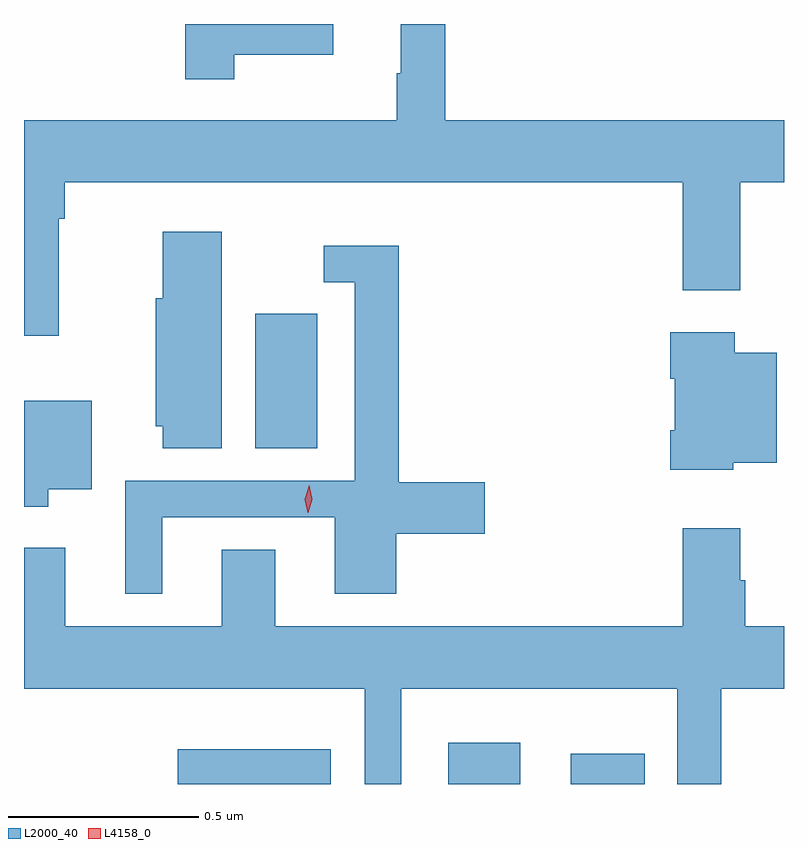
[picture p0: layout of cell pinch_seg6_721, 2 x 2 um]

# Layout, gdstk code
import gdstk
lib = gdstk.Library(unit=1e-6, precision=1e-09)
def R(c, l, rs):  # rectangles x0, y0, x1, y1
    for r in rs: c.add(gdstk.rectangle(r[:2], r[2:], *l))
def P(c, l, *ps):  # polygons
    for p in ps: c.add(gdstk.Polygon(p, *l))
L2000_40 = (2000, 40)
L4158_0 = (4158, 0)

pinch_seg6_721 = lib.new_cell('pinch_seg6_721')
R(pinch_seg6_721, L2000_40, [(395.583,947.085,395.985,947.176), (396.294,947.085,396.484,947.194), (396.617,947.085,396.812,947.164), (395.786,947.968,395.95,948.322)])
P(pinch_seg6_721, L2000_40, [(395.27,948.572),(395.285,948.572),(395.285,948.668),(396.911,948.668),(396.911,948.384),(397.063,948.384),(397.063,948.668),(397.178,948.668),(397.178,948.832),(396.287,948.832),(396.287,949.085),(396.17,949.085),(396.17,948.956),(396.159,948.956),(396.159,948.832),(395.178,948.832),(395.178,948.264),(395.27,948.264)],
  [(395.731,949.004),(395.992,949.004),(395.992,949.085),(395.602,949.085),(395.602,948.939),(395.731,948.939)],
  [(395.698,948.538),(395.543,948.538),(395.543,948.363),(395.525,948.363),(395.525,948.027),(395.543,948.027),(395.543,947.968),(395.698,947.968)],
  [(395.542,947.787),(395.996,947.787),(395.996,947.586),(396.158,947.586),(396.158,947.744),(396.391,947.744),(396.391,947.879),(396.164,947.879),(396.164,948.502),(395.967,948.502),(395.967,948.405),(396.048,948.405),(396.048,947.883),(395.444,947.883),(395.444,947.586),(395.542,947.586)],
  [(397.044,947.93),(397.159,947.93),(397.159,948.22),(397.048,948.22),(397.048,948.274),(396.878,948.274),(396.878,948.152),(396.89,948.152),(396.89,948.016),(396.878,948.016),(396.878,947.912),(397.044,947.912)],
  [(395.242,947.861),(395.356,947.861),(395.356,948.094),(395.178,948.094),(395.178,947.814),(395.242,947.814)],
  [(395.699,947.702),(395.699,947.5),(395.287,947.5),(395.287,947.707),(395.178,947.707),(395.178,947.336),(396.075,947.336),(396.075,947.085),(396.171,947.085),(396.171,947.336),(396.897,947.336),(396.897,947.085),(397.013,947.085),(397.013,947.336),(397.178,947.336),(397.178,947.5),(397.076,947.5),(397.076,947.621),(397.063,947.621),(397.063,947.758),(396.911,947.758),(396.911,947.5),(395.839,947.5),(395.839,947.702)])
P(pinch_seg6_721, L4158_0, [(395.925,947.799),(395.925,947.799),(395.917,947.835),(395.928,947.871),(395.928,947.871),(395.928,947.871),(395.937,947.834),(395.926,947.799)])

lib.write_gds('pinch_seg6_721.gds')
